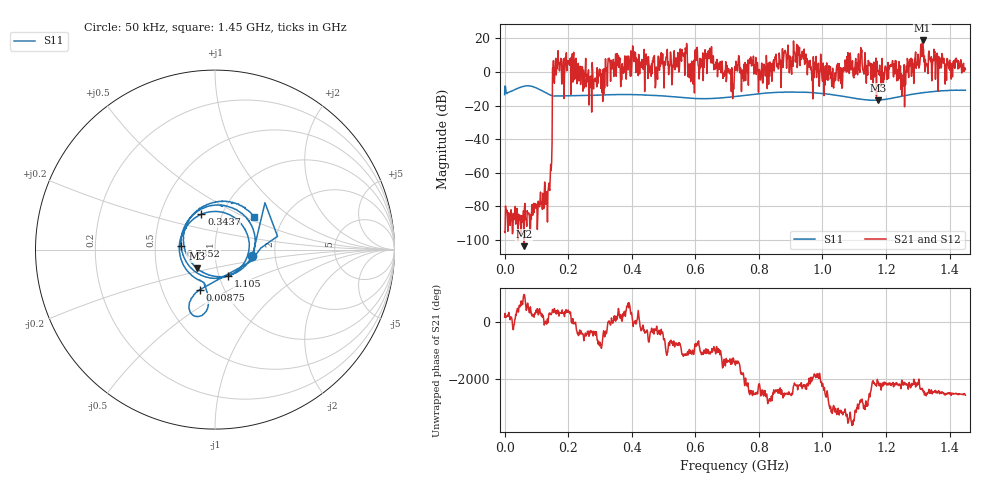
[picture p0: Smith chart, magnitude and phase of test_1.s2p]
! Created with skrf 1.11.0 (http://scikit-rf.org).
# Hz S RI R 50.0
!freq ReS11 ImS11 ReS21 ImS21 ReS12 ImS12 ReS22 ImS22
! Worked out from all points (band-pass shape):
!   1001 points, 50 kHz to 1.45 GHz, reference 50 ohm
!   highest |S21| = 18.79 dB at 1.315 GHz (marker M1); lowest = -103.9 dB at 60.95 MHz (marker M2)
!   |S21| within 3 dB of the highest: 572.4943 MHz to 573.285 MHz (790.7 kHz wide, 0.138 % of centre); 891.7252 MHz to 891.8224 MHz (97.24 kHz wide, 0.0109 % of centre) (the widest 2 of 6)
!   lowest |S11| = -16.9 dB at 1.175 GHz (marker M3), VSWR 1.33, Z = 40.2 - j8.49 ohm
!   |S11| at or under -10 dB: start of sweep to 1.039 MHz; 3.466 MHz to 38.96 MHz (35.5 MHz wide, 167 % of centre); 105.3 MHz to end of sweep
!   |S22| runs from - to - dB; largest |S21 - S12| = 0
!   S11 on the Smith chart (normalised r, x): 50 kHz: 1.52, -0.11; 8.75 MHz: 0.77, -0.36; 343.7 MHz: 0.80, +0.33; 735.2 MHz: 0.68, +0.03; 1.105 GHz: 1.10, -0.33; 1.45 GHz: 1.43, +0.57
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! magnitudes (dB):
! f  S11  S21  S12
! 50 kHz  -13.5  -95.3  -95.3
! 8.75 MHz  -12.4  -87.0  -87.0
! 60.95 MHz  -8.5  -103.9  -103.9
! 136.3 MHz  -13.1  -71.2  -71.2
! 142.1 MHz  -13.6  -70.7  -70.7
! 156.6 MHz  -14.4  -6.7  -6.7
! 161 MHz  -14.3  8.1  8.1
! 242.2 MHz  -14.0  3.1  3.1
! 343.7 MHz  -13.5  -2.7  -2.7
! 484.3 MHz  -14.1  9.4  9.4
! 645.3 MHz  -15.9  14.1  14.1
! 725 MHz  -14.6  3.3  3.3
! 735.2 MHz  -14.4  6.3  6.3
! 806.2 MHz  -12.9  0.1  0.1
! 930.9 MHz  -12.0  8.8  8.8
! 967.2 MHz  -12.3  -4.9  -4.9
! 1.105 GHz  -15.8  8.0  8.0
! 1.175 GHz  -16.9  0.7  0.7
! 1.209 GHz  -16.0  4.0  4.0
! 1.254 GHz  -14.3  -1.8  -1.8
! 1.315 GHz  -12.4  18.8  18.8
! 1.45 GHz  -10.9  1.4  1.4
